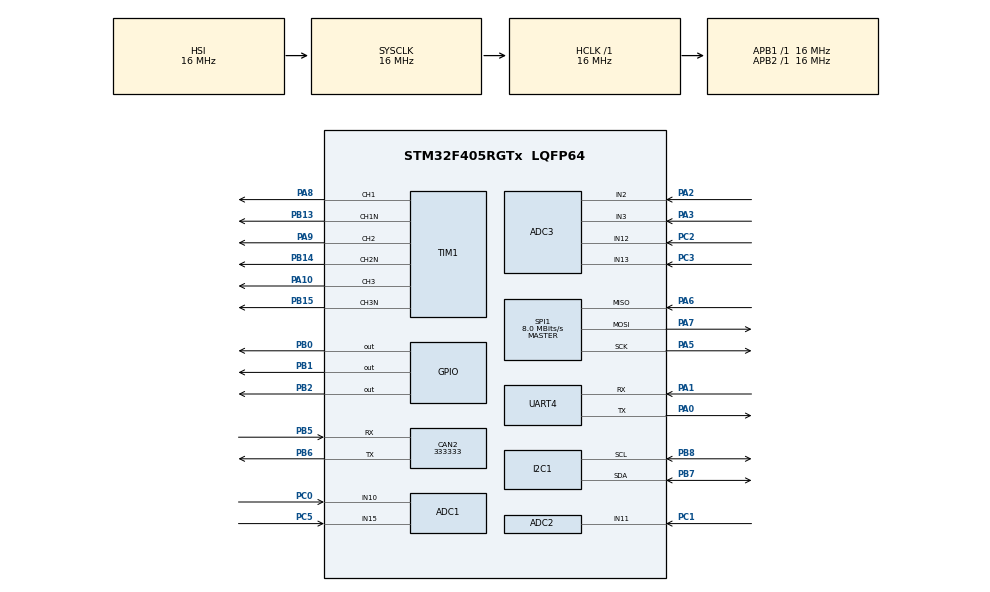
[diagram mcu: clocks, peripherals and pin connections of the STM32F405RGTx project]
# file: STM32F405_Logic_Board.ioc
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ADC1.Channel-0\#ChannelRegularConversion=ADC_CHANNEL_10
ADC1.NbrOfConversionFlag=1
ADC1.Rank-0\#ChannelRegularConversion=1
ADC1.SamplingTime-0\#ChannelRegularConversion=ADC_SAMPLETIME_3CYCLES
ADC1.master=1
ADC2.Channel-0\#ChannelRegularConversion=ADC_CHANNEL_11
ADC2.NbrOfConversionFlag=1
ADC2.Rank-0\#ChannelRegularConversion=1
ADC2.SamplingTime-0\#ChannelRegularConversion=ADC_SAMPLETIME_3CYCLES
ADC3.Channel-0\#ChannelRegularConversion=ADC_CHANNEL_2
ADC3.NbrOfConversionFlag=1
ADC3.Rank-0\#ChannelRegularConversion=1
ADC3.SamplingTime-0\#ChannelRegularConversion=ADC_SAMPLETIME_3CYCLES
CAN2.CalculateBaudRate=333333
CAN2.CalculateTimeBit=3000.00
CAN2.CalculateTimeQuantum=1000.0
Dma.ADC2.0.Direction=DMA_PERIPH_TO_MEMORY
Dma.ADC2.0.FIFOMode=DMA_FIFOMODE_DISABLE
Dma.ADC2.0.Instance=DMA2_Stream2
Dma.ADC2.0.MemDataAlignment=DMA_MDATAALIGN_HALFWORD
Dma.ADC2.0.MemInc=DMA_MINC_ENABLE
Dma.ADC2.0.Mode=DMA_NORMAL
Dma.ADC2.0.PeriphDataAlignment=DMA_PDATAALIGN_HALFWORD
Dma.ADC2.0.PeriphInc=DMA_PINC_DISABLE
Dma.ADC2.0.Priority=DMA_PRIORITY_LOW
Dma.Request0=ADC2
Mcu.Family=STM32F4
Mcu.Name=STM32F405RGTx
Mcu.Package=LQFP64
NVIC.DMA2_Stream2_IRQn=true\:0\:0\:false\:false\:true\:false\:true
NVIC.PriorityGroup=NVIC_PRIORITYGROUP_4
PA0-WKUP.Mode=Asynchronous
PA0-WKUP.Signal=UART4_TX
PA1.Mode=Asynchronous
PA1.Signal=UART4_RX
PA10.Signal=S_TIM1_CH3
PA13.Mode=Serial_Wire
PA13.Signal=SYS_JTMS-SWDIO
PA14.Mode=Serial_Wire
PA14.Signal=SYS_JTCK-SWCLK
PA2.Signal=ADCx_IN2
PA3.Signal=ADCx_IN3
PA5.Mode=Full_Duplex_Master
PA5.Signal=SPI1_SCK
PA6.Mode=Full_Duplex_Master
PA6.Signal=SPI1_MISO
PA7.Mode=Full_Duplex_Master
PA7.Signal=SPI1_MOSI
PA8.Signal=S_TIM1_CH1
PA9.Signal=S_TIM1_CH2
PB0.Signal=GPIO_Output
PB1.Signal=GPIO_Output
PB13.Mode=PWM Generation1 CH1 CH1N
PB13.Signal=TIM1_CH1N
PB14.Mode=PWM Generation2 CH2 CH2N
PB14.Signal=TIM1_CH2N
PB15.Mode=PWM Generation3 CH3 CH3N
PB15.Signal=TIM1_CH3N
PB2.Signal=GPIO_Output
PB5.Mode=CAN_Activate
PB5.Signal=CAN2_RX
PB6.Mode=CAN_Activate
PB6.Signal=CAN2_TX
PB7.Mode=I2C
PB7.Signal=I2C1_SDA
PB8.Mode=I2C
PB8.Signal=I2C1_SCL
PC0.Signal=ADCx_IN10
PC1.Signal=ADCx_IN11
PC13-ANTI_TAMP.Signal=EVENTOUT
PC2.Signal=ADCx_IN12
PC3.Signal=ADCx_IN13
PC4.Signal=EVENTOUT
PC5.Signal=ADCx_IN15
ProjectManager.HeapSize=0x200
ProjectManager.StackSize=0x400
ProjectManager.TargetToolchain=STM32CubeIDE
RCC.AHBFreq_Value=16000000
RCC.APB1Freq_Value=16000000
RCC.APB2Freq_Value=16000000
RCC.CortexFreq_Value=16000000
RCC.HSE_VALUE=25000000
RCC.HSI_VALUE=16000000
RCC.LSE_VALUE=32768
RCC.SYSCLKFreq_VALUE=16000000
RCC.VCOOutputFreq_Value=192000000
SH.ADCx_IN10.0=ADC1_IN10,IN10
SH.ADCx_IN11.0=ADC2_IN11,IN11
SH.ADCx_IN12.0=ADC3_IN12,IN12
SH.ADCx_IN13.0=ADC3_IN13,IN13
SH.ADCx_IN15.0=ADC1_IN15,IN15
SH.ADCx_IN15.1=ADC2_IN15,IN15
SH.ADCx_IN2.0=ADC3_IN2,IN2
SH.ADCx_IN3.0=ADC3_IN3,IN3
SH.S_TIM1_CH1.0=TIM1_CH1,PWM Generation1 CH1 CH1N
SH.S_TIM1_CH2.0=TIM1_CH2,PWM Generation2 CH2 CH2N
SH.S_TIM1_CH3.0=TIM1_CH3,PWM Generation3 CH3 CH3N
SPI1.CalculateBaudRate=8.0 MBits/s
SPI1.Direction=SPI_DIRECTION_2LINES
SPI1.Mode=SPI_MODE_MASTER
SPI1.VirtualType=VM_MASTER
TIM1.AutoReloadPreload=TIM_AUTORELOAD_PRELOAD_ENABLE
TIM1.Channel-PWM\ Generation1\ CH1\ CH1N=TIM_CHANNEL_1
TIM1.Channel-PWM\ Generation2\ CH2\ CH2N=TIM_CHANNEL_2
TIM1.Channel-PWM\ Generation3\ CH3\ CH3N=TIM_CHANNEL_3
UART4.VirtualMode=Asynchronous
VP_TIM1_VS_ClockSourceINT.Mode=Internal
board=custom

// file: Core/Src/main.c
/* USER CODE BEGIN Header */
/**
  ******************************************************************************
  * @file           : main.c
  * @brief          : Main program body
  ******************************************************************************
  * @attention
  *
  * <h2><center>&copy; Copyright (c) 2021 STMicroelectronics.
  * All rights reserved.</center></h2>
  *
  * This software component is licensed by ST under BSD 3-Clause license,
  * the "License"; You may not use this file except in compliance with the
  * License. You may obtain a copy of the License at:
  *                        opensource.org/licenses/BSD-3-Clause
  *
  ******************************************************************************
  */

/* USER CODE END Header */
#include "main.h"

ADC_HandleTypeDef hadc1;
ADC_HandleTypeDef hadc2;
ADC_HandleTypeDef hadc3;
DMA_HandleTypeDef hdma_adc2;

CAN_HandleTypeDef hcan2;

I2C_HandleTypeDef hi2c1;

SPI_HandleTypeDef hspi1;

TIM_HandleTypeDef htim1;

UART_HandleTypeDef huart4;

void SystemClock_Config(void);
static void MX_GPIO_Init(void);
static void MX_CAN2_Init(void);
static void MX_ADC1_Init(void);
static void MX_ADC2_Init(void);
static void MX_ADC3_Init(void);
static void MX_I2C1_Init(void);
static void MX_SPI1_Init(void);
static void MX_TIM1_Init(void);
static void MX_DMA_Init(void);
static void MX_UART4_Init(void);

/* USER CODE BEGIN 0 */

float maxVoltageValue = 3.3;
float maxCurrentValue = 5;
float currentSenseResistance = 4.68;

/* USER CODE END 0 */

int main(void)
{
  /* USER CODE BEGIN 1 */
	uint16_t rawVoltage;
	uint16_t rawCurrent;
	float convertedVoltage;
	float convertedCurrent;

	char currentMsg[30];
  /* USER CODE END 1 */

  /* MCU Configuration--------------------------------------------------------*/

  /* Reset of all peripherals, Initializes the Flash interface and the Systick. */
  HAL_Init();

  /* Configure the system clock */
  SystemClock_Config();

  /* Initialize all configured peripherals */
  MX_GPIO_Init();
  MX_CAN2_Init();
  MX_ADC1_Init();
  MX_ADC2_Init();
  MX_ADC3_Init();
  MX_I2C1_Init();
  MX_SPI1_Init();
  MX_TIM1_Init();
  MX_DMA_Init();
  MX_UART4_Init();

  /* Infinite loop */
  /* USER CODE BEGIN WHILE */
  while (1)
  {
	  //Voltage Sensing
	 rawVoltage = getRawVoltage();
	 convertedVoltage = convertVoltage(rawVoltage);

	 //Current Sensing
	 rawCurrent = getRawCurrent();
	 convertedCurrent = convertCurrent(rawCurrent);

	 //Transmitting both Current and Voltage through UART
	 sprintf(currentMsg, "V: %f C: %f \r\n", convertedVoltage, convertedCurrent);
	 HAL_UART_Transmit(&huart4, (uint8_t*) currentMsg, strlen(currentMsg), HAL_MAX_DELAY);

	 //Fault testing
	 if (!validateAll(convertedVoltage, convertedCurrent)){break;}

    /* USER CODE END WHILE */

    /* USER CODE BEGIN 3 */
  }
  sprintf(currentMsg, "Done! \r\n");
  HAL_UART_Transmit(&huart4, (uint8_t*) currentMsg, strlen(currentMsg), HAL_MAX_DELAY);
  /* USER CODE END 3 */
}

void SystemClock_Config(void)
{
  RCC_OscInitTypeDef RCC_OscInitStruct = {0};
  RCC_ClkInitTypeDef RCC_ClkInitStruct = {0};

  /** Configure the main internal regulator output voltage
  */
  __HAL_RCC_PWR_CLK_ENABLE();
  __HAL_PWR_VOLTAGESCALING_CONFIG(PWR_REGULATOR_VOLTAGE_SCALE1);
  /** Initializes the RCC Oscillators according to the specified parameters
  * in the RCC_OscInitTypeDef structure.
  */
  RCC_OscInitStruct.OscillatorType = RCC_OSCILLATORTYPE_HSI;
  RCC_OscInitStruct.HSIState = RCC_HSI_ON;
  RCC_OscInitStruct.HSICalibrationValue = RCC_HSICALIBRATION_DEFAULT;
  RCC_OscInitStruct.PLL.PLLState = RCC_PLL_NONE;
  if (HAL_RCC_OscConfig(&RCC_OscInitStruct) != HAL_OK)
  {
    Error_Handler();
  }
  /** Initializes the CPU, AHB and APB buses clocks
  */
  RCC_ClkInitStruct.ClockType = RCC_CLOCKTYPE_HCLK|RCC_CLOCKTYPE_SYSCLK
                              |RCC_CLOCKTYPE_PCLK1|RCC_CLOCKTYPE_PCLK2;
  RCC_ClkInitStruct.SYSCLKSource = RCC_SYSCLKSOURCE_HSI;
  RCC_ClkInitStruct.AHBCLKDivider = RCC_SYSCLK_DIV1;
  RCC_ClkInitStruct.APB1CLKDivider = RCC_HCLK_DIV1;
  RCC_ClkInitStruct.APB2CLKDivider = RCC_HCLK_DIV1;

  if (HAL_RCC_ClockConfig(&RCC_ClkInitStruct, FLASH_LATENCY_0) != HAL_OK)
  {
    Error_Handler();
  }
}

static void MX_ADC1_Init(void)
{

  ADC_ChannelConfTypeDef sConfig = {0};

  /** Configure the global features of the ADC (Clock, Resolution, Data Alignment and number of conversion)
  */
  hadc1.Instance = ADC1;
  hadc1.Init.ClockPrescaler = ADC_CLOCK_SYNC_PCLK_DIV2;
  hadc1.Init.Resolution = ADC_RESOLUTION_12B;
  hadc1.Init.ScanConvMode = DISABLE;
  hadc1.Init.ContinuousConvMode = DISABLE;
  hadc1.Init.DiscontinuousConvMode = DISABLE;
  hadc1.Init.ExternalTrigConvEdge = ADC_EXTERNALTRIGCONVEDGE_NONE;
  hadc1.Init.ExternalTrigConv = ADC_SOFTWARE_START;
  hadc1.Init.DataAlign = ADC_DATAALIGN_RIGHT;
  hadc1.Init.NbrOfConversion = 1;
  hadc1.Init.DMAContinuousRequests = DISABLE;
  hadc1.Init.EOCSelection = ADC_EOC_SINGLE_CONV;
  if (HAL_ADC_Init(&hadc1) != HAL_OK)
  {
    Error_Handler();
  }
  /** Configure for the selected ADC regular channel its corresponding rank in the sequencer and its sample time.
  */
  sConfig.Channel = ADC_CHANNEL_10;
  sConfig.Rank = 1;
  sConfig.SamplingTime = ADC_SAMPLETIME_3CYCLES;
  if (HAL_ADC_ConfigChannel(&hadc1, &sConfig) != HAL_OK)
  {
    Error_Handler();
  }

}

static void MX_ADC2_Init(void)
{

  ADC_ChannelConfTypeDef sConfig = {0};

  /** Configure the global features of the ADC (Clock, Resolution, Data Alignment and number of conversion)
  */
  hadc2.Instance = ADC2;
  hadc2.Init.ClockPrescaler = ADC_CLOCK_SYNC_PCLK_DIV2;
  hadc2.Init.Resolution = ADC_RESOLUTION_12B;
  hadc2.Init.ScanConvMode = DISABLE;
  hadc2.Init.ContinuousConvMode = DISABLE;
  hadc2.Init.DiscontinuousConvMode = DISABLE;
  hadc2.Init.ExternalTrigConvEdge = ADC_EXTERNALTRIGCONVEDGE_NONE;
  hadc2.Init.ExternalTrigConv = ADC_SOFTWARE_START;
  hadc2.Init.DataAlign = ADC_DATAALIGN_RIGHT;
  hadc2.Init.NbrOfConversion = 1;
  hadc2.Init.DMAContinuousRequests = DISABLE;
  hadc2.Init.EOCSelection = ADC_EOC_SINGLE_CONV;
  if (HAL_ADC_Init(&hadc2) != HAL_OK)
  {
    Error_Handler();
  }
  /** Configure for the selected ADC regular channel its corresponding rank in the sequencer and its sample time.
  */
  sConfig.Channel = ADC_CHANNEL_11;
  sConfig.Rank = 1;
  sConfig.SamplingTime = ADC_SAMPLETIME_3CYCLES;
  if (HAL_ADC_ConfigChannel(&hadc2, &sConfig) != HAL_OK)
  {
    Error_Handler();
  }

}

static void MX_ADC3_Init(void)
{

  ADC_ChannelConfTypeDef sConfig = {0};

  /** Configure the global features of the ADC (Clock, Resolution, Data Alignment and number of conversion)
  */
  hadc3.Instance = ADC3;
  hadc3.Init.ClockPrescaler = ADC_CLOCK_SYNC_PCLK_DIV2;
  hadc3.Init.Resolution = ADC_RESOLUTION_12B;
  hadc3.Init.ScanConvMode = DISABLE;
  hadc3.Init.ContinuousConvMode = DISABLE;
  hadc3.Init.DiscontinuousConvMode = DISABLE;
  hadc3.Init.ExternalTrigConvEdge = ADC_EXTERNALTRIGCONVEDGE_NONE;
  hadc3.Init.ExternalTrigConv = ADC_SOFTWARE_START;
  hadc3.Init.DataAlign = ADC_DATAALIGN_RIGHT;
  hadc3.Init.NbrOfConversion = 1;
  hadc3.Init.DMAContinuousRequests = DISABLE;
  hadc3.Init.EOCSelection = ADC_EOC_SINGLE_CONV;
  if (HAL_ADC_Init(&hadc3) != HAL_OK)
  {
    Error_Handler();
  }
  /** Configure for the selected ADC regular channel its corresponding rank in the sequencer and its sample time.
  */
  sConfig.Channel = ADC_CHANNEL_2;
  sConfig.Rank = 1;
  sConfig.SamplingTime = ADC_SAMPLETIME_3CYCLES;
  if (HAL_ADC_ConfigChannel(&hadc3, &sConfig) != HAL_OK)
  {
    Error_Handler();
  }

}

static void MX_CAN2_Init(void)
{

  hcan2.Instance = CAN2;
  hcan2.Init.Prescaler = 16;
  hcan2.Init.Mode = CAN_MODE_NORMAL;
  hcan2.Init.SyncJumpWidth = CAN_SJW_1TQ;
  hcan2.Init.TimeSeg1 = CAN_BS1_1TQ;
  hcan2.Init.TimeSeg2 = CAN_BS2_1TQ;
  hcan2.Init.TimeTriggeredMode = DISABLE;
  hcan2.Init.AutoBusOff = DISABLE;
  hcan2.Init.AutoWakeUp = DISABLE;
  hcan2.Init.AutoRetransmission = DISABLE;
  hcan2.Init.ReceiveFifoLocked = DISABLE;
  hcan2.Init.TransmitFifoPriority = DISABLE;
  if (HAL_CAN_Init(&hcan2) != HAL_OK)
  {
    Error_Handler();
  }

}

static void MX_I2C1_Init(void)
{

  hi2c1.Instance = I2C1;
  hi2c1.Init.ClockSpeed = 100000;
  hi2c1.Init.DutyCycle = I2C_DUTYCYCLE_2;
  hi2c1.Init.OwnAddress1 = 0;
  hi2c1.Init.AddressingMode = I2C_ADDRESSINGMODE_7BIT;
  hi2c1.Init.DualAddressMode = I2C_DUALADDRESS_DISABLE;
  hi2c1.Init.OwnAddress2 = 0;
  hi2c1.Init.GeneralCallMode = I2C_GENERALCALL_DISABLE;
  hi2c1.Init.NoStretchMode = I2C_NOSTRETCH_DISABLE;
  if (HAL_I2C_Init(&hi2c1) != HAL_OK)
  {
    Error_Handler();
  }

}

static void MX_SPI1_Init(void)
{

  /* SPI1 parameter configuration*/
  hspi1.Instance = SPI1;
  hspi1.Init.Mode = SPI_MODE_MASTER;
  hspi1.Init.Direction = SPI_DIRECTION_2LINES;
  hspi1.Init.DataSize = SPI_DATASIZE_8BIT;
  hspi1.Init.CLKPolarity = SPI_POLARITY_LOW;
  hspi1.Init.CLKPhase = SPI_PHASE_1EDGE;
  hspi1.Init.NSS = SPI_NSS_SOFT;
  hspi1.Init.BaudRatePrescaler = SPI_BAUDRATEPRESCALER_2;
  hspi1.Init.FirstBit = SPI_FIRSTBIT_MSB;
  hspi1.Init.TIMode = SPI_TIMODE_DISABLE;
  hspi1.Init.CRCCalculation = SPI_CRCCALCULATION_DISABLE;
  hspi1.Init.CRCPolynomial = 10;
  if (HAL_SPI_Init(&hspi1) != HAL_OK)
  {
    Error_Handler();
  }

}

static void MX_TIM1_Init(void)
{

  TIM_ClockConfigTypeDef sClockSourceConfig = {0};
  TIM_MasterConfigTypeDef sMasterConfig = {0};
  TIM_OC_InitTypeDef sConfigOC = {0};
  TIM_BreakDeadTimeConfigTypeDef sBreakDeadTimeConfig = {0};

  htim1.Instance = TIM1;
  htim1.Init.Prescaler = 0;
  htim1.Init.CounterMode = TIM_COUNTERMODE_UP;
  htim1.Init.Period = 65535;
  htim1.Init.ClockDivision = TIM_CLOCKDIVISION_DIV1;
  htim1.Init.RepetitionCounter = 0;
  htim1.Init.AutoReloadPreload = TIM_AUTORELOAD_PRELOAD_ENABLE;
  if (HAL_TIM_Base_Init(&htim1) != HAL_OK)
  {
    Error_Handler();
  }
  sClockSourceConfig.ClockSource = TIM_CLOCKSOURCE_INTERNAL;
  if (HAL_TIM_ConfigClockSource(&htim1, &sClockSourceConfig) != HAL_OK)
  {
    Error_Handler();
  }
  if (HAL_TIM_PWM_Init(&htim1) != HAL_OK)
  {
    Error_Handler();
  }
  sMasterConfig.MasterOutputTrigger = TIM_TRGO_RESET;
  sMasterConfig.MasterSlaveMode = TIM_MASTERSLAVEMODE_DISABLE;
  if (HAL_TIMEx_MasterConfigSynchronization(&htim1, &sMasterConfig) != HAL_OK)
  {
    Error_Handler();
  }
  sConfigOC.OCMode = TIM_OCMODE_PWM1;
  sConfigOC.Pulse = 0;
  sConfigOC.OCPolarity = TIM_OCPOLARITY_HIGH;
  sConfigOC.OCNPolarity = TIM_OCNPOLARITY_HIGH;
  sConfigOC.OCFastMode = TIM_OCFAST_DISABLE;
  sConfigOC.OCIdleState = TIM_OCIDLESTATE_RESET;
  sConfigOC.OCNIdleState = TIM_OCNIDLESTATE_RESET;
  if (HAL_TIM_PWM_ConfigChannel(&htim1, &sConfigOC, TIM_CHANNEL_1) != HAL_OK)
  {
    Error_Handler();
  }
  if (HAL_TIM_PWM_ConfigChannel(&htim1, &sConfigOC, TIM_CHANNEL_2) != HAL_OK)
  {
    Error_Handler();
  }
  if (HAL_TIM_PWM_ConfigChannel(&htim1, &sConfigOC, TIM_CHANNEL_3) != HAL_OK)
  {
    Error_Handler();
  }
  sBreakDeadTimeConfig.OffStateRunMode = TIM_OSSR_DISABLE;
  sBreakDeadTimeConfig.OffStateIDLEMode = TIM_OSSI_DISABLE;
  sBreakDeadTimeConfig.LockLevel = TIM_LOCKLEVEL_OFF;
  sBreakDeadTimeConfig.DeadTime = 0;
  sBreakDeadTimeConfig.BreakState = TIM_BREAK_DISABLE;
  sBreakDeadTimeConfig.BreakPolarity = TIM_BREAKPOLARITY_HIGH;
  sBreakDeadTimeConfig.AutomaticOutput = TIM_AUTOMATICOUTPUT_DISABLE;
  if (HAL_TIMEx_ConfigBreakDeadTime(&htim1, &sBreakDeadTimeConfig) != HAL_OK)
  {
    Error_Handler();
  }
  HAL_TIM_MspPostInit(&htim1);

}

static void MX_UART4_Init(void)
{

  huart4.Instance = UART4;
  huart4.Init.BaudRate = 115200;
  huart4.Init.WordLength = UART_WORDLENGTH_8B;
  huart4.Init.StopBits = UART_STOPBITS_1;
  huart4.Init.Parity = UART_PARITY_NONE;
  huart4.Init.Mode = UART_MODE_TX_RX;
  huart4.Init.HwFlowCtl = UART_HWCONTROL_NONE;
  huart4.Init.OverSampling = UART_OVERSAMPLING_16;
  if (HAL_UART_Init(&huart4) != HAL_OK)
  {
    Error_Handler();
  }

}

static void MX_DMA_Init(void)
{

  /* DMA controller clock enable */
  __HAL_RCC_DMA2_CLK_ENABLE();

  /* DMA interrupt init */
  /* DMA2_Stream2_IRQn interrupt configuration */
  HAL_NVIC_SetPriority(DMA2_Stream2_IRQn, 0, 0);
  HAL_NVIC_EnableIRQ(DMA2_Stream2_IRQn);

}

static void MX_GPIO_Init(void)
{
  GPIO_InitTypeDef GPIO_InitStruct = {0};

  /* GPIO Ports Clock Enable */
  __HAL_RCC_GPIOC_CLK_ENABLE();
  __HAL_RCC_GPIOA_CLK_ENABLE();
  __HAL_RCC_GPIOB_CLK_ENABLE();

  /*Configure GPIO pin Output Level */
  HAL_GPIO_WritePin(GPIOB, GPIO_PIN_0|GPIO_PIN_1|GPIO_PIN_2, GPIO_PIN_RESET);

  /*Configure GPIO pins : PC13 PC4 */
  GPIO_InitStruct.Pin = GPIO_PIN_13|GPIO_PIN_4;
  GPIO_InitStruct.Mode = GPIO_MODE_AF_PP;
  GPIO_InitStruct.Pull = GPIO_NOPULL;
  GPIO_InitStruct.Speed = GPIO_SPEED_FREQ_LOW;
  GPIO_InitStruct.Alternate = GPIO_AF15_EVENTOUT;
  HAL_GPIO_Init(GPIOC, &GPIO_InitStruct);

  /*Configure GPIO pins : PB0 PB1 PB2 */
  GPIO_InitStruct.Pin = GPIO_PIN_0|GPIO_PIN_1|GPIO_PIN_2;
  GPIO_InitStruct.Mode = GPIO_MODE_OUTPUT_PP;
  GPIO_InitStruct.Pull = GPIO_NOPULL;
  GPIO_InitStruct.Speed = GPIO_SPEED_FREQ_LOW;
  HAL_GPIO_Init(GPIOB, &GPIO_InitStruct);

}

/* USER CODE BEGIN 4 */

//Read raw voltage from pin
uint16_t getRawVoltage(){
	HAL_ADC_Start(&hadc1);
	HAL_ADC_PollForConversion(&hadc1, HAL_MAX_DELAY);
	return HAL_ADC_GetValue(&hadc1);
}

//Read raw current from pin
uint16_t getRawCurrent(){
	HAL_ADC_Start(&hadc2);
	HAL_ADC_PollForConversion(&hadc2, HAL_MAX_DELAY);
	return HAL_ADC_GetValue(&hadc2);
}

//Convert raw voltage reading to volts
float convertVoltage(uint16_t voltage){
	return (float)voltage/4095*3.3;
}

//Convert raw voltage to volts
float convertCurrent( uint16_t current){
	return (float)current/4095*3.3;
}

//Check if voltage and current are under max values
bool validateAll(float voltage, float current){
//	return voltage<maxVoltageValue && current<maxCurrentValue;
	return 0==0;

}
/* USER CODE END 4 */

void Error_Handler(void)
{
  __disable_irq();
  while (1)
  {
  }
}

/************************ (C) COPYRIGHT STMicroelectronics *****END OF FILE****/
